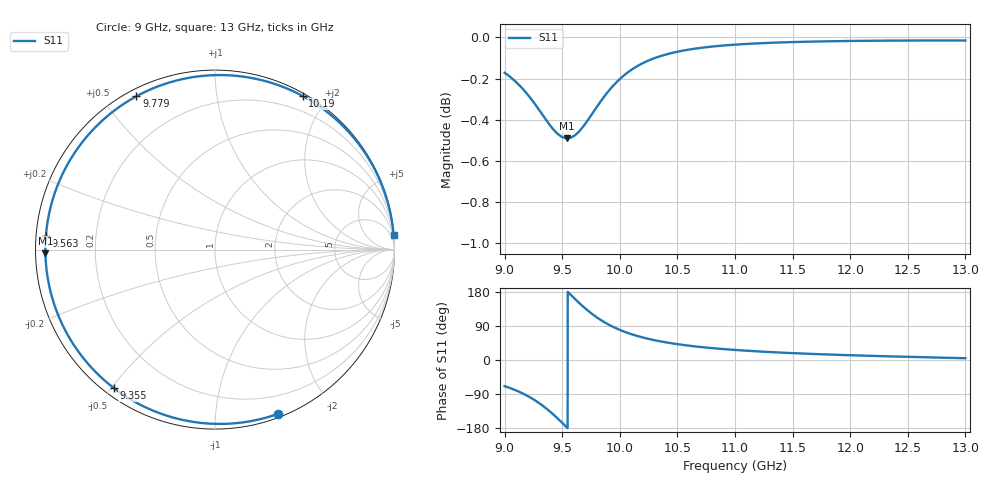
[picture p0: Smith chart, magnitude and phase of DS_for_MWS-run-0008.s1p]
! TOUCHSTONE file generated by CST DESIGN STUDIO
! Date and time: Wed Feb  5 13:37:25 2025
! Project name: C:\Work\MatlabApps\UnitCellOptimizationMatlab\CST\unitcell.cst
! Tree item: Tasks\Sweep1\SPara1\S-Parameters
! Header version: 2024
! Port assignment regex: !\s*Touchstone port\s*([0-9]+)\s*=\s*(CST MWS port|CST DES external port|CST DES block port)\s*(.+)\s* \(\"(.*)\"\)(\s*mode\s*([0-9]+))?.*
! Touchstone port assignment:
! Touchstone port 1 = CST DES external port 1 ("")
# GHz S MA R 50
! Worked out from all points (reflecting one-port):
!   4001 points, 9 GHz to 13 GHz, reference 50 ohm
!   lowest |S11| = -0.5 dB at 9.543 GHz (marker M1), VSWR 35.46, Z = 1.41 - j0.573 ohm
!   phase of S11 starts at -69 deg and turns -286 deg over the sweep
!   S11 on the Smith chart (normalised r, x): 9 GHz: 0.03, -1.45; 9.355 GHz: 0.03, -0.51; 9.563 GHz: 0.03, +0.04; 9.779 GHz: 0.03, +0.61; 10.19 GHz: 0.03, +1.72; 13 GHz: 1, +24
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9  0.9804 -69.0
9.101  0.9753 -80.5
9.211  0.9677 -96.8
9.287  0.9614 -111.1
9.355  0.9553 -126.3
9.424  0.9498 -144.0
9.464  0.9473 -155.3
9.5  0.9458 -165.8
9.543  0.9451 -178.7
9.563  0.9453 175.3
9.617  0.947 159.2
9.678  0.951 142.0
9.728  0.9553 129.1
9.779  0.9599 117.1
9.826  0.9642 107.3
9.877  0.9685 97.8
9.934  0.9728 88.6
10  0.977 79.4
10.09  0.9816 69.2
10.188  0.9853 60.3
10.331  0.9892 50.4
10.5  0.992 41.8
10.721  0.9943 33.7
11  0.996 26.5
11.5  0.9974 18.1
12  0.998 12.6
12.5  0.9983 8.3
13  0.9983 4.7
